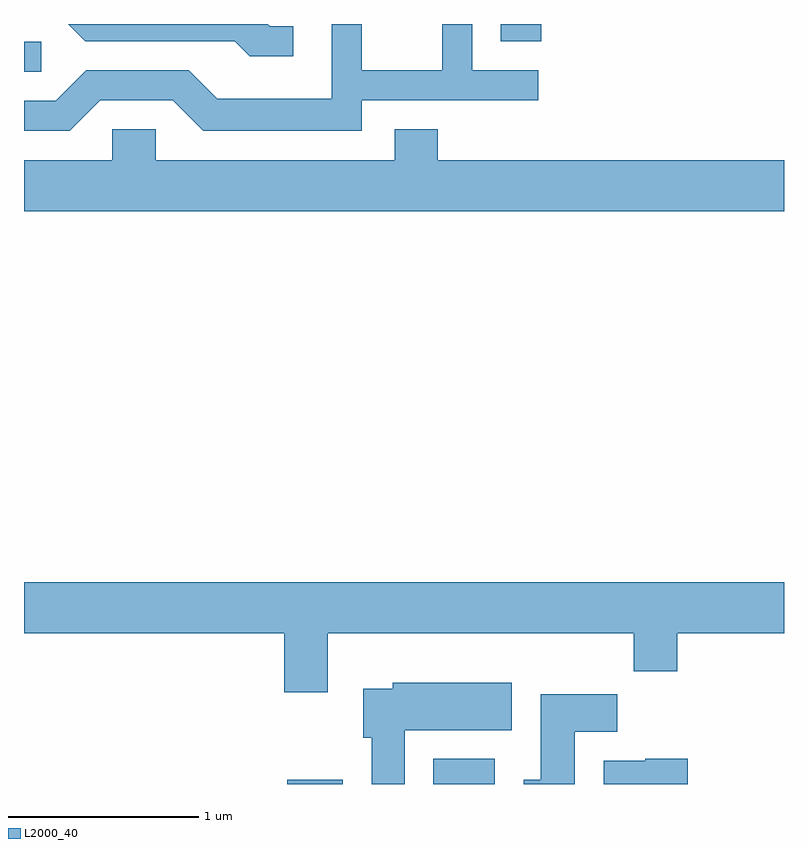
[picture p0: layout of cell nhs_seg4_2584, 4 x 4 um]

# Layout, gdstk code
import gdstk
lib = gdstk.Library(unit=1e-6, precision=1e-09)
def R(c, l, rs):  # rectangles x0, y0, x1, y1
    for r in rs: c.add(gdstk.rectangle(r[:2], r[2:], *l))
def P(c, l, *ps):  # polygons
    for p in ps: c.add(gdstk.Polygon(p, *l))
L2000_40 = (2000, 40)

nhs_seg4_2584 = lib.new_cell('nhs_seg4_2584')
R(nhs_seg4_2584, L2000_40, [(262.996,1253.982,263.289,1254.004), (263.766,1253.982,264.089,1254.114), (261.611,1257.731,261.703,1257.889), (264.121,1257.891,264.334,1257.982)])
P(nhs_seg4_2584, L2000_40, [(263.028,1257.969),(262.907,1257.969),(262.894,1257.982),(261.843,1257.982),(261.933,1257.891),(262.719,1257.891),(262.799,1257.811),(263.028,1257.811)],
  [(262.012,1257.581),(262.394,1257.581),(262.554,1257.421),(263.389,1257.421),(263.389,1257.581),(264.318,1257.581),(264.318,1257.739),(263.969,1257.739),(263.969,1257.982),(263.811,1257.982),(263.811,1257.739),(263.389,1257.739),(263.389,1257.982),(263.231,1257.982),(263.231,1257.589),(262.627,1257.589),(262.477,1257.739),(261.939,1257.739),(261.779,1257.579),(261.611,1257.579),(261.611,1257.421),(261.852,1257.421)],
  [(265.611,1257.264),(263.789,1257.264),(263.789,1257.429),(263.561,1257.429),(263.561,1257.264),(262.304,1257.264),(262.304,1257.429),(262.076,1257.429),(262.076,1257.264),(261.611,1257.264),(261.611,1256.996),(265.611,1256.996)],
  [(263.209,1254.776),(264.821,1254.776),(264.821,1254.576),(265.049,1254.576),(265.049,1254.776),(265.611,1254.776),(265.611,1255.044),(261.611,1255.044),(261.611,1254.776),(262.981,1254.776),(262.981,1254.466),(263.209,1254.466)],
  [(263.614,1254.266),(264.179,1254.266),(264.179,1254.514),(263.551,1254.514),(263.551,1254.484),(263.396,1254.484),(263.396,1254.226),(263.441,1254.226),(263.441,1253.982),(263.614,1253.982)],
  [(264.509,1254.256),(264.734,1254.256),(264.734,1254.454),(264.331,1254.454),(264.331,1254.004),(264.241,1254.004),(264.241,1253.982),(264.509,1253.982)],
  [(265.104,1254.114),(264.88,1254.114),(264.88,1254.104),(264.661,1254.104),(264.661,1253.982),(265.104,1253.982)])

lib.write_gds('nhs_seg4_2584.gds')
